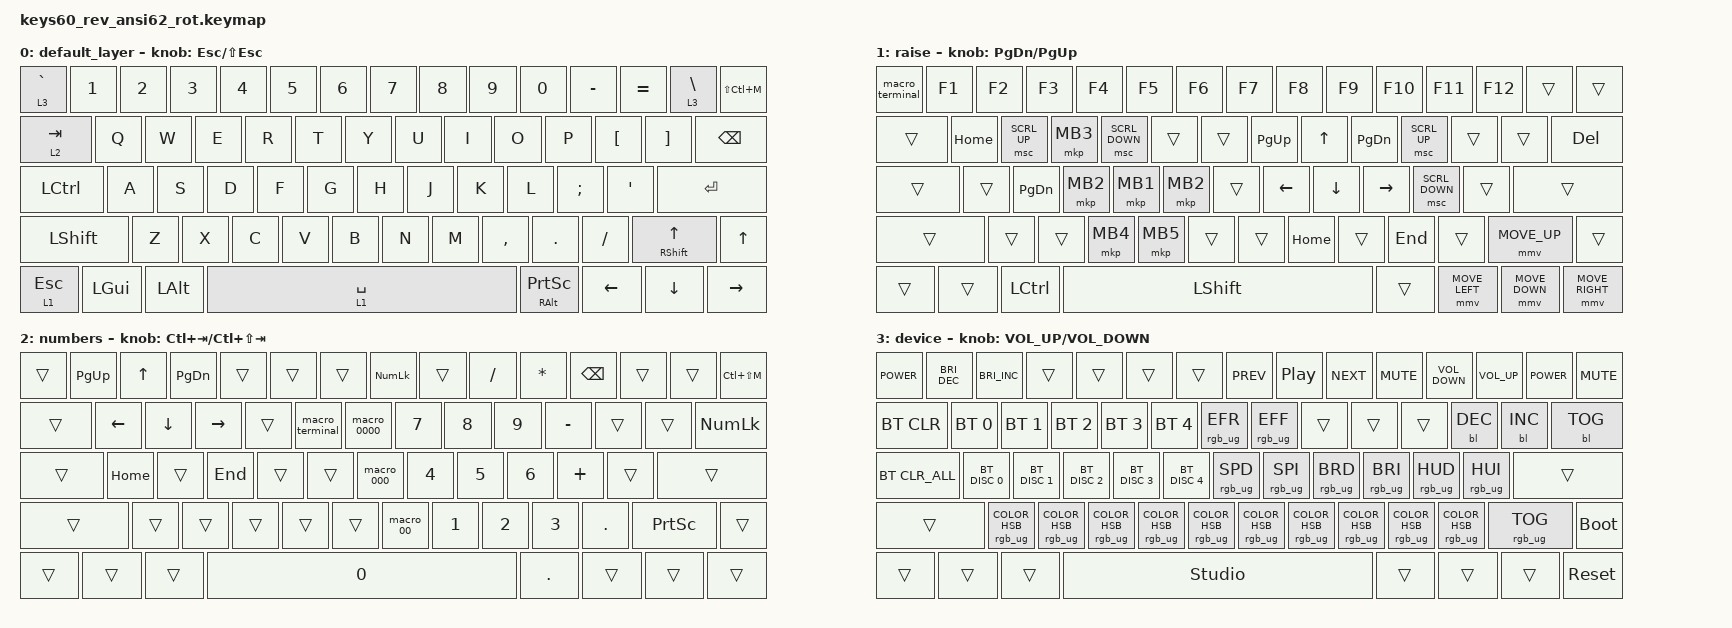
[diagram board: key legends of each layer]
#include <dt-bindings/zmk/mouse.h>
#include <behaviors.dtsi>
#include <dt-bindings/zmk/backlight.h>
#include <dt-bindings/zmk/bt.h>
#include <dt-bindings/zmk/keys.h>
#include <dt-bindings/zmk/pointing.h>
#include <dt-bindings/zmk/rgb.h>

/ {
    macros {
        macro_00: macro_00 {
            compatible = "zmk,behavior-macro";
            #binding-cells = <0>;
            bindings = <&kp N0 &kp N0>;
            label = "MACRO_00";
        };

        macro_000: macro_000 {
            compatible = "zmk,behavior-macro";
            #binding-cells = <0>;
            bindings = <&kp N0 &kp N0 &kp N0>;
            label = "MACRO_000";
        };

        macro_0000: macro_0000 {
            compatible = "zmk,behavior-macro";
            #binding-cells = <0>;
            bindings = <&kp N0 &kp N0 &kp N0 &kp N0>;
            label = "MACRO_0000";
        };

        macro_terminal: terminal {
            compatible = "zmk,behavior-macro";
            #binding-cells = <0>;
            bindings =
                <&kp LCTRL &kp LALT>,
                <&macro_press>,
                <&kp Q>,
                <&macro_tap>,
                <&kp LCTRL &kp LALT>,
                <&macro_release>;

            label = "TERMINAL";
        };
    };

    keymap {
        compatible = "zmk,keymap";

        default_layer {
            // ------------------------------------------------------------------------------------------	
            // |  `  |  1  |  2  |  3  |  4  |  5  |  6  |  7  |  8  |  9  |  0  |  -  |  =  | \ | Fn |
            // | TAB  |  Q  |  W  |  E  |  R  |  T  |  Y  |  U  |  I  |  O  |  P  |  [  |  ]  |  BKSP |
            // | CAPS  |  A  |  S  |  D  |  F  |  G  |  H  |  J  |  K  |  L  |  ;  |  '  |     ENTER  |
            // |  SHIFT    |  Z  |  X  |  C  |  V  |  B  |  N  |  M  |  ,  |  .  | /   | SHIFT   | Up |
            // |  CTL  |  WIN  |  ALT  |            SPACE               | ALT | Left  | Down  | Right |
            // ------------------------------------------------------------------------------------------

            bindings = <
&lt 3 GRAVE  &kp N1     &kp N2    &kp N3    &kp N4       &kp N5                     &kp N6    &kp N7    &kp N8     &kp N9   &kp N0    &kp MINUS           &kp EQUAL  &lt 3 BACKSLASH  &kp LS(LC(M))
&lt 2 TAB    &kp Q      &kp W     &kp E     &kp R        &kp T                      &kp Y     &kp U     &kp I      &kp O    &kp P     &kp LBKT            &kp RBKT   &kp BSPC
&kp LCTRL    &kp A      &kp S     &kp D     &kp F        &kp G                      &kp H     &kp J     &kp K      &kp L    &kp SEMI  &kp SQT             &kp RET
&kp LSHFT    &kp Z      &kp X     &kp C     &kp V        &kp B                      &kp N     &kp M     &kp COMMA  &kp DOT  &kp FSLH  &mt RIGHT_SHIFT UP  &kp UP
             &lt 1 ESC  &kp LGUI  &kp LALT  &lt 1 SPACE  &mt RIGHT_ALT PRINTSCREEN  &kp LEFT  &kp DOWN  &kp RIGHT
            >;

            sensor-bindings = <&inc_dec_kp ESC LS(ESC)>;
        };

        raise {
            bindings = <
&macro_terminal  &kp F1    &kp F2        &kp F3     &kp F4          &kp F5    &kp F6          &kp F7          &kp F8           &kp F9         &kp F10         &kp F11       &kp F12  &trans   &trans
&trans           &kp HOME  &msc SCRL_UP  &mkp MB3   &msc SCRL_DOWN  &trans    &trans          &kp PAGE_UP     &kp UP           &kp PAGE_DOWN  &msc SCRL_UP    &trans        &trans   &kp DEL
&trans           &trans    &kp PG_DN     &mkp MB2   &mkp MB1        &mkp MB2  &trans          &kp LEFT        &kp DOWN         &kp RIGHT      &msc SCRL_DOWN  &trans        &trans
&trans           &trans    &trans        &mkp MB4   &mkp MB5        &trans    &trans          &kp HOME        &trans           &kp END        &trans          &mmv MOVE_UP  &trans
                 &trans    &trans        &kp LCTRL  &kp LEFT_SHIFT  &trans    &mmv MOVE_LEFT  &mmv MOVE_DOWN  &mmv MOVE_RIGHT
            >;

            sensor-bindings = <&inc_dec_kp PG_DN PG_UP>;
        };

        numbers {
            bindings = <
&trans  &kp PAGE_UP  &kp UP    &kp PAGE_DOWN  &trans  &trans           &trans       &kp KP_NUMLOCK  &trans  &kp SLASH  &kp ASTRK  &kp BACKSPACE    &trans  &trans          &kp LC(LS(M))
&trans  &kp LEFT     &kp DOWN  &kp RIGHT      &trans  &macro_terminal  &macro_0000  &kp N7          &kp N8  &kp N9     &kp MINUS  &trans           &trans  &kp KP_NUMLOCK
&trans  &kp HOME     &trans    &kp END        &trans  &trans           &macro_000   &kp N4          &kp N5  &kp N6     &kp PLUS   &trans           &trans
&trans  &trans       &trans    &trans         &trans  &trans           &macro_00    &kp N1          &kp N2  &kp N3     &kp DOT    &kp PRINTSCREEN  &trans
        &trans       &trans    &trans         &kp N0  &kp DOT          &trans       &trans          &trans
            >;

            sensor-bindings = <&inc_dec_kp LC(TAB) LC(LS(TAB))>;
        };

        device {
            bindings = <
&kp K_POWER     &kp C_BRI_DEC                     &kp C_BRI_INC                     &trans                            &trans                            &trans                             &trans                             &kp C_PREV                         &kp C_PLAY_PAUSE                   &kp C_NEXT                         &kp K_MUTE                         &kp C_VOLUME_DOWN  &kp C_VOLUME_UP  &kp C_POWER  &kp C_MUTE
&bt BT_CLR      &bt BT_SEL 0                      &bt BT_SEL 1                      &bt BT_SEL 2                      &bt BT_SEL 3                      &bt BT_SEL 4                       &rgb_ug RGB_EFR                    &rgb_ug RGB_EFF                    &trans                             &trans                             &trans                             &bl BL_DEC         &bl BL_INC       &bl BL_TOG
&bt BT_CLR_ALL  &bt BT_DISC 0                     &bt BT_DISC 1                     &bt BT_DISC 2                     &bt BT_DISC 3                     &bt BT_DISC 4                      &rgb_ug RGB_SPD                    &rgb_ug RGB_SPI                    &rgb_ug RGB_BRD                    &rgb_ug RGB_BRI                    &rgb_ug RGB_HUD                    &rgb_ug RGB_HUI    &trans
&trans          &rgb_ug RGB_COLOR_HSB(33,100,34)  &rgb_ug RGB_COLOR_HSB(38,100,38)  &rgb_ug RGB_COLOR_HSB(65,100,28)  &rgb_ug RGB_COLOR_HSB(90,100,31)  &rgb_ug RGB_COLOR_HSB(128,100,31)  &rgb_ug RGB_COLOR_HSB(166,100,29)  &rgb_ug RGB_COLOR_HSB(204,100,30)  &rgb_ug RGB_COLOR_HSB(267,100,27)  &rgb_ug RGB_COLOR_HSB(278,100,30)  &rgb_ug RGB_COLOR_HSB(312,100,28)  &rgb_ug RGB_TOG    &bootloader
                &trans                            &trans                            &trans                            &studio_unlock                            &trans                             &trans                             &trans                             &sys_reset
            >;

            sensor-bindings = <&inc_dec_kp C_VOLUME_UP C_VOLUME_DOWN>;
        };
    };
};
